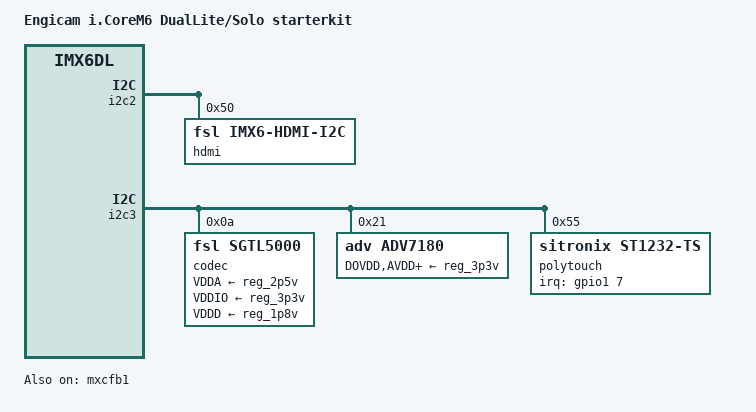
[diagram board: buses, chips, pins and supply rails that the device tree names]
/*
 * Copyright (C) 2013 Freescale Semiconductor, Inc.
 *
 * This program is free software; you can redistribute it and/or modify
 * it under the terms of the GNU General Public License version 2 as
 * published by the Free Software Foundation.
 */

/dts-v1/;

#include "imx6dl.dtsi"
#include "imx6qdl-icore.dtsi"
 
/ {
	model = "Engicam i.CoreM6 DualLite/Solo starterkit";
	compatible = "fsl,imx6-icore", "fsl,imx6dl";
};

&mxcfb1 {
	compatible = "fsl,mxc_sdc_fb";
	disp_dev = "lcd";
	interface_pix_fmt = "RGB666";
	mode_str ="Amp-WD";
	default_bpp = <16>;
	int_clk = <0>;
	late_init = <0>;
	status = "okay";
};

&mxcfb2 {
	status = "disabled";
};

&i2c2 {

	hdmi: edid@50 {
		compatible = "fsl,imx6-hdmi-i2c";
		reg = <0x50>;
	};
};


&i2c3 {

	codec: sgtl5000@0a {
		compatible = "fsl,sgtl5000";
		reg = <0x0a>;
		clocks = <&clks 201>;
		VDDA-supply = <&reg_2p5v>;
		VDDIO-supply = <&reg_3p3v>;
		VDDD-supply = <&reg_1p8v>;
	};

	adv7180: adv7180@21 {
		compatible = "adv,adv7180";
		reg = <0x21>;
		pinctrl-names = "default";
		pinctrl-0 = <&pinctrl_ipu1_2>;
		clocks = <&clks 201>;
		clock-names = "csi_mclk";
		DOVDD-supply = <&reg_3p3v>; /* 3.3v, enabled via 2.8 VGEN6 */
		AVDD-supply = <&reg_3p3v>;  /* 1.8v */
		DVDD-supply = <&reg_3p3v>;  /* 1.8v */
		PVDD-supply = <&reg_3p3v>;  /* 1.8v */
		csi_id = <0>;
		mclk = <24000000>;
		mclk_source = <0>;
		cvbs = <1>;
	};

	polytouch: st1232_ts@55 {
		compatible = "sitronix,st1232-ts";
		reg = <0x55>;
		pinctrl-names = "default";		
		pinctrl-0 = <&pinctrl_st1232_ts>;
		interrupt-parent = <&gpio1>;
		interrupts = <7 0>;
	};
};


&iomuxc {
	touchpanel{
		pinctrl_st1232_ts:  st1232-tsgrp  {
			fsl,pins = <
				MX6QDL_PAD_GPIO_7__GPIO1_IO07  0x1b0b0 /*interrupt*/
			>;
		};
	};
	
	hog {
		pinctrl_hog: hoggrp {
			fsl,pins = <
				MX6QDL_PAD_GPIO_2__GPIO1_IO02 0x1f059
				MX6QDL_PAD_EIM_D19__GPIO3_IO19 0x1f059 /* not used pin for ADV7180 driver compatibility */
			>;
		};
	};
};
